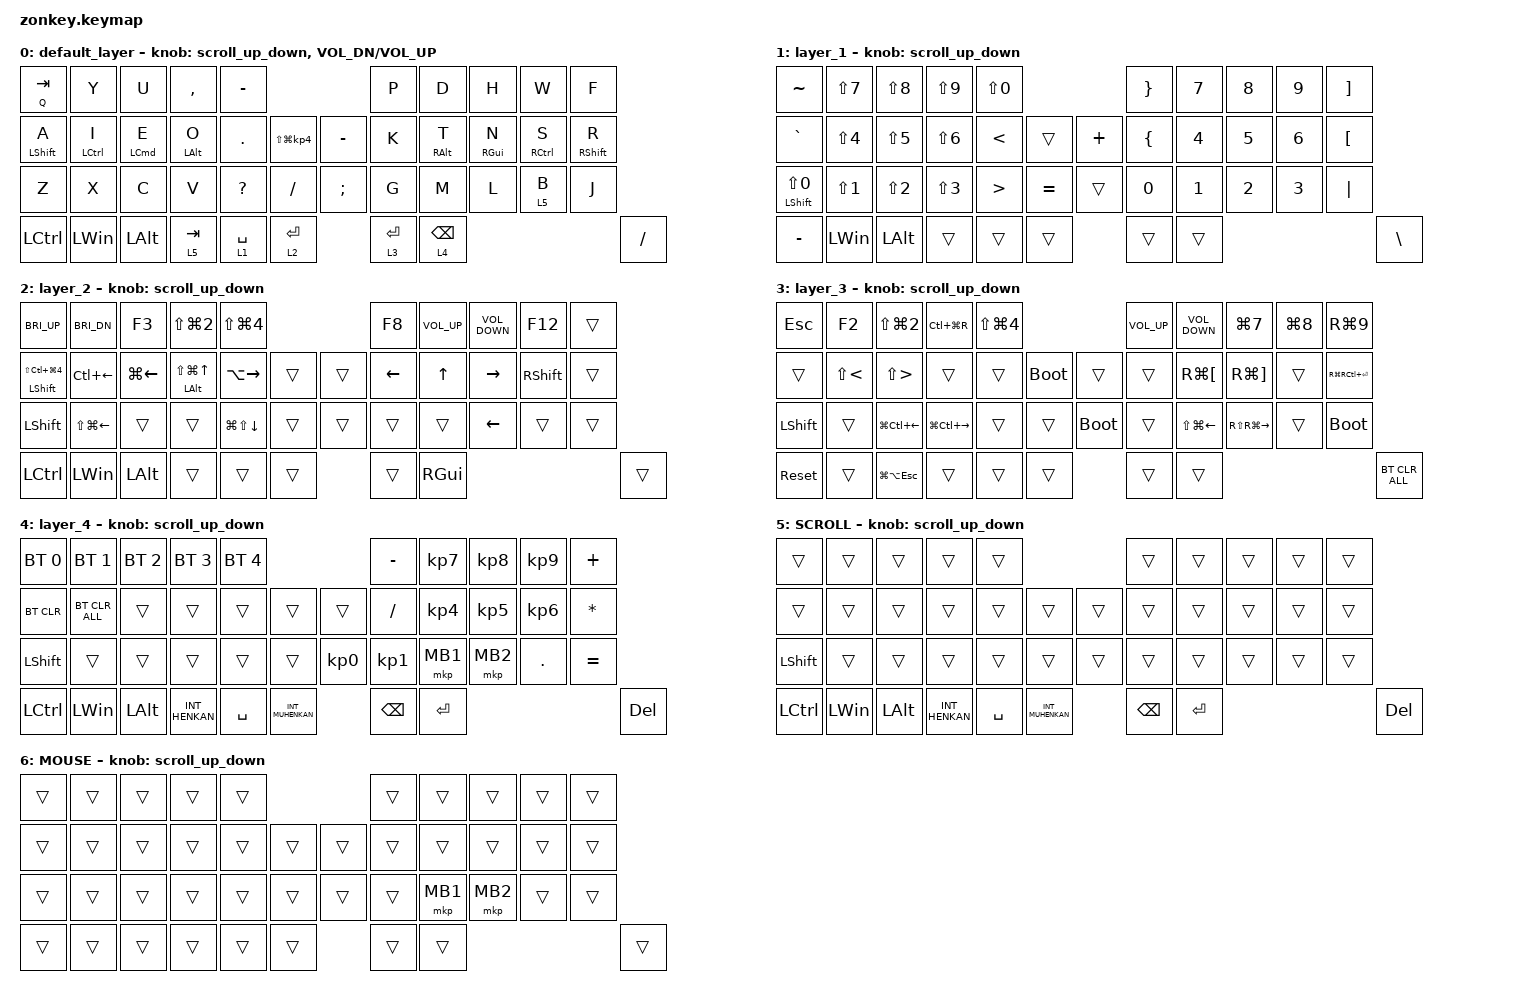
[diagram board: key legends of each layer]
#include <behaviors.dtsi>
#include <dt-bindings/zmk/bt.h>
#include <dt-bindings/zmk/keys.h>
#include <dt-bindings/zmk/pointing.h>

#define ZMK_POINTING_DEFAULT_SCRL_VAL 100
#define MOUSE 6
#define JP_DQUOTE       AT                // "

&mt {
    flavor = "balanced";
    quick-tap-ms = <0>;
};

/ {
    combos {
        compatible = "zmk,combos";

        eisuu {
            bindings = <&kp LANGUAGE_2>;
            key-positions = <12 13>;
        };

        kana {
            bindings = <&kp LANGUAGE_1>;
            key-positions = <18 19>;
        };
    };

    macros {
        to_layer_0: to_layer_0 {
            compatible = "zmk,behavior-macro-one-param";
            #binding-cells = <1>;
            bindings = <&to 0 &macro_param_1to1 &kp MACRO_PLACEHOLDER>;
            label = "TO_LAYER_0";
        };
    };

    behaviors {
        lt_to_layer_0: lt_to_layer_0 {
            compatible = "zmk,behavior-hold-tap";
            label = "LAYER_TAP_TO_0";
            bindings = <&mo>, <&to_layer_0>;

            #binding-cells = <2>;
            tapping-term-ms = <200>;
        };

        scroll_up_down: behavior_sensor_rotate_mouse_wheel_up_down {
            compatible = "zmk,behavior-sensor-rotate";
            #sensor-binding-cells = <0>;
            bindings = <&msc SCRL_DOWN>, <&msc SCRL_UP>;

            tap-ms = <20>;
        };
    };

    keymap {
        compatible = "zmk,keymap";

        default_layer {
            // -----------------------------------------------------------------------------------------
            // |  Q  |  W  |  E  |  R  |  T  |                        |  Y  |  U   |  I  |  O  |  P  | 
            // |  A  |  S  |  D  |  F  |  G  |LS(LG(S))|        　 | - |  H  |  J   |  K  |  L  |  `  | 
            // |SHIFT|  Z  |  X  |  C  |  V  |  B  |           | ; |  N  |  M   |  ,  |  .  |  /  | 
            // | CTRL | WIN | ALT |HENKAN|SPACE|MUHENKAN|       | BS | ENT |      　　　　       | DEL |           

            bindings = <
&mt Q TAB         &kp Y         &kp U         &kp COMMA       &kp MINUS                                              &kp P        &kp D            &kp H            &kp W        &kp F
&mt LEFT_SHIFT A  &mt LCTRL I   &mt LCMD E    &mt LEFT_ALT O  &kp PERIOD   &kp LS(LG(KP_NUMBER_4))    &kp MINUS      &kp K        &mt RIGHT_ALT T  &mt RIGHT_GUI N  &mt RCTRL S  &mt RIGHT_SHIFT R
&kp Z             &kp X         &kp C         &kp V           &kp QMARK    &kp SLASH                  &kp SEMICOLON  &kp G        &kp M            &kp L            &lt 5 B      &kp J
&kp LCTRL         &kp LEFT_WIN  &kp LEFT_ALT  &lt 5 TAB       &lt 1 SPACE  &lt 2 ENTER                               &lt 3 ENTER  &lt 4 BACKSPACE                                                   &kp SLASH
            >;

            sensor-bindings =
                <&scroll_up_down>,
                <&inc_dec_kp C_VOL_DN C_VOL_UP>;
        };

        layer_1 {
            // -----------------------------------------------------------------------------------------
            // | 半角/全角 |CAPS|     |     |     |                     |     |     |  -  |  ^  |  ¥  |
            // | TAB |     |     |     |     |     |              |    |     |     |     |  @  |  [  |
            // |SHIFT|     |     |     |     |     |            | 英数 | かな |     |     |     |  ]  |
            // | CTRL| WIN | ALT |HENKAN|SPACE|MUHENKAN|         | BS | ENT |                   | DEL |

            bindings = <
&kp TILDE              &kp LS(N7)        &kp LS(N8)        &kp LS(N9)        &kp LS(N0)                               &kp RIGHT_BRACE  &kp N7        &kp N8        &kp N9        &kp RIGHT_BRACKET
&kp GRAVE              &kp LS(NUMBER_4)  &kp LS(N5)        &kp LS(NUMBER_6)  &kp LESS_THAN     &trans       &kp PLUS  &kp LEFT_BRACE   &kp NUMBER_4  &kp N5        &kp NUMBER_6  &kp LEFT_BRACKET
&mt LEFT_SHIFT LS(N0)  &kp LS(NUMBER_1)  &kp LS(NUMBER_2)  &kp LS(NUMBER_3)  &kp GREATER_THAN  &kp EQUAL    &trans    &kp N0           &kp NUMBER_1  &kp NUMBER_2  &kp NUMBER_3  &kp PIPE
&kp MINUS              &kp LEFT_WIN      &kp LEFT_ALT      &trans            &trans            &trans                 &trans           &trans                                                       &kp BACKSLASH
            >;

            sensor-bindings = <&scroll_up_down>;
        };

        layer_2 {
            // -----------------------------------------------------------------------------------------
            // |  1  |  2  |  3  |  4  |  5  |                     |  6  |  7  |  8  |  9  |   0  |
            // |      |     |     |     |     |     |           |    |     |     |     |  ↑  |      |
            // |SHIFT|     |     |     |     |     |           |     |     |     |  ←  |  ↓  |  →  |
            // | CTRL| WIN | ALT |HENKAN|SPACE|MUHENKAN|         | BS | ENT |                   | DEL |

            bindings = <
&kp C_BRI_UP                         &kp C_BRI_DN      &kp F3        &kp LS(LG(NUMBER_2))           &kp LS(LG(NUMBER_4))                      &kp F8    &kp K_VOLUME_UP  &kp K_VOLUME_DOWN  &kp F12          &trans
&mt LEFT_SHIFT LS(LC(LG(NUMBER_4)))  &kp LC(LEFT)      &kp LG(LEFT)  &mt LEFT_ALT LS(LG(UP_ARROW))  &kp LA(RIGHT)           &trans    &trans  &kp LEFT  &kp UP_ARROW     &kp RIGHT          &kp RIGHT_SHIFT  &trans
&kp LEFT_SHIFT                       &kp LS(LG(LEFT))  &trans        &trans                         &kp LG(LS(DOWN_ARROW))  &trans    &trans  &trans    &trans           &kp LEFT_ARROW     &trans           &trans
&kp LCTRL                            &kp LEFT_WIN      &kp LEFT_ALT  &trans                         &trans                  &trans            &trans    &kp RIGHT_GUI                                                &trans
            >;

            sensor-bindings = <&scroll_up_down>;
        };

        layer_3 {
            // -----------------------------------------------------------------------------------------
            // | F1  | F2  | F3  | F4  | F5  |                     | F6  | F7 | F8  | F9 | F10 |
            // | F11 | F12 |     |     |     |     |           |    |     |     |     |     |      |
            // |SHIFT|     |     |     |     |     |           |     |     |     |     |     |      |
            // | CTRL| WIN | ALT |HENKAN|SPACE|MUHENKAN|         | BS | ENT |                   | DEL |

            bindings = <
&kp ESCAPE      &kp F2             &kp LS(LG(NUMBER_2))  &kp LC(LG(R))      &kp LS(LG(NUMBER_4))                              &kp K_VOLUME_UP  &kp K_VOLUME_DOWN     &kp LG(N7)             &kp LG(N8)  &kp RG(N9)
&trans          &kp LS(LESS_THAN)  &kp LS(GREATER_THAN)  &trans             &trans                &bootloader    &trans       &trans           &kp RG(LEFT_BRACKET)  &kp RG(RIGHT_BRACKET)  &trans      &kp RG(RC(ENTER))
&kp LEFT_SHIFT  &trans             &kp LG(LC(LEFT))      &kp LG(LC(RIGHT))  &trans                &trans         &bootloader  &trans           &kp LS(LG(LEFT))      &kp RS(RG(RIGHT))      &trans      &bootloader
&sys_reset      &trans             &kp LG(LA(ESCAPE))    &trans             &trans                &trans                      &trans           &trans                                                                      &bt BT_CLR_ALL
            >;

            sensor-bindings = <&scroll_up_down>;
        };

        layer_4 {
            // -----------------------------------------------------------------------------------------
            // | BT0 | BT1 | BT2 | BT3 | BT4 |                |  -  |  7  |  8  |  9  |  +  |
            // |BTCLR |     |     |     |     |     |           |  /  |  4  |  5  |  6  |  *  | 
            // |SHIFT|     |     |     |     |     |           |  0  |  1  |  2  |   3 |  .  |  =  |
            // | CTRL| WIN | ALT |HENKAN|SPACE|MUHENKAN|        | BS | ENT |                  | DEL |

            bindings = <
&bt BT_SEL 0    &bt BT_SEL 1    &bt BT_SEL 2  &bt BT_SEL 3    &bt BT_SEL 4                                       &kp MINUS        &kp KP_NUMBER_7  &kp KP_NUMBER_8  &kp KP_NUMBER_9  &kp PLUS
&bt BT_CLR      &bt BT_CLR_ALL  &trans        &trans          &trans        &trans              &trans           &kp SLASH        &kp KP_NUMBER_4  &kp KP_NUMBER_5  &kp KP_NUMBER_6  &kp ASTERISK
&kp LEFT_SHIFT  &trans          &trans        &trans          &trans        &trans              &kp KP_NUMBER_0  &kp KP_NUMBER_1  &mkp MB1         &mkp MB2         &kp PERIOD       &kp EQUAL
&kp LCTRL       &kp LEFT_WIN    &kp LEFT_ALT  &kp INT_HENKAN  &kp SPACE     &kp INT_MUHENKAN                     &kp BACKSPACE    &kp ENTER                                                        &kp DEL
            >;

            sensor-bindings = <&scroll_up_down>;
        };

        SCROLL {
            // -----------------------------------------------------------------------------------------
            // |      |     |     |     |     |                     |     |     |     |     |      |
            // |      |     |     |     |     |     |           |    |     |     |     |     |      |
            // |SHIFT|     |     |     |     |     |          |     |     |     |     |     |      |
            // | CTRL| WIN | ALT |HENKAN|SPACE|MUHENKAN|        | BS | ENT |                  | DEL |

            bindings = <
&trans          &trans        &trans        &trans          &trans                                 &trans         &trans     &trans  &trans  &trans
&trans          &trans        &trans        &trans          &trans     &trans              &trans  &trans         &trans     &trans  &trans  &trans
&kp LEFT_SHIFT  &trans        &trans        &trans          &trans     &trans              &trans  &trans         &trans     &trans  &trans  &trans
&kp LCTRL       &kp LEFT_WIN  &kp LEFT_ALT  &kp INT_HENKAN  &kp SPACE  &kp INT_MUHENKAN            &kp BACKSPACE  &kp ENTER                          &kp DEL
            >;

            sensor-bindings = <&scroll_up_down>;
        };

        MOUSE {
            bindings = <
&trans  &trans  &trans  &trans  &trans                    &trans  &trans    &trans    &trans  &trans
&trans  &trans  &trans  &trans  &trans  &trans    &trans  &trans  &trans    &trans    &trans  &trans
&trans  &trans  &trans  &trans  &trans  &trans    &trans  &trans  &mkp MB1  &mkp MB2  &trans  &trans
&trans  &trans  &trans  &trans  &trans  &trans            &trans  &trans                              &trans
            >;

            sensor-bindings = <&scroll_up_down>;
        };
    };
};
